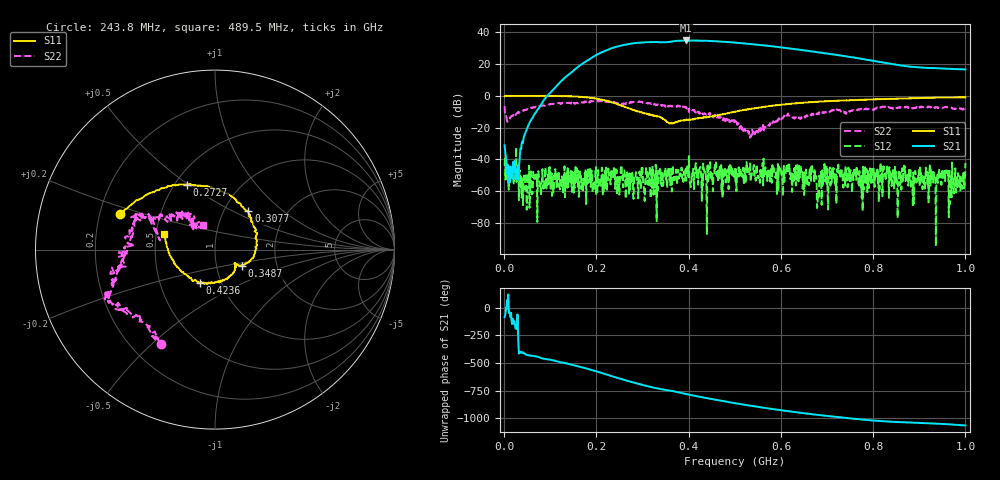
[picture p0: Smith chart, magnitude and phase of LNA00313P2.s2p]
! Created with skrf 1.9.0 (http://scikit-rf.org).
# Hz S RI R 50.0
!freq ReS11 ImS11 ReS21 ImS21 ReS12 ImS12 ReS22 ImS22
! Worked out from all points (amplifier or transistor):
!   1001 points, 1 MHz to 1 GHz, reference 50 ohm
!   highest |S21| = 34.9 dB at 394.6 MHz (marker M1)
!   |S21| within 3 dB of that: 256.7 MHz to 559.7 MHz (303 MHz wide, 74.2 % of centre)
!   unconditionally stable (mu >= 1): 3.794 MHz to 82.52 MHz; 237.9 MHz to 299.7 MHz; 299.7 MHz to end of sweep (the widest 3 of 27)
!   at 166.8 MHz: K = 2.08, MAG = 30.0 dB, |S12| = -52.3 dB
!   at 500.5 MHz: K = 2.00, MAG = 34.0 dB, |S12| = -46.0 dB
!   at 1 GHz: K = 1.90, MAG = 24.0 dB, |S12| = -42.3 dB
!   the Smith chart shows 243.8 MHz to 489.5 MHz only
!   S11 on the Smith chart (normalised r, x): 243.8 MHz: 0.29, +0.17; 272.7 MHz: 0.58, +0.49; 307.7 MHz: 1.30, +0.61; 348.7 MHz: 1.32, -0.25; 423.6 MHz: 0.79, -0.31; 489.5 MHz: 0.55, +0.11
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1000000  0.9673 -0.00925  0.00248 -0.0276  -0.00567 -0.00309  0.3651 0.3076
1.08892e8  0.5047 -0.8542  -0.8133 -1.519  -0.0032 -0.00037  0.4254 -0.3819
1.67833e8  -0.265 -0.8902  -9.876 -0.5179  0.000217 0.00114  0.0334 -0.6296
2.09791e8  -0.6901 -0.344  -15.35 16.87  0.00143 -0.000426  -0.2055 -0.6549
2.43757e8  -0.5279 0.2004  1.198 35.19  -0.0028 0.00367  -0.2995 -0.5248
2.72728e8  -0.1553 0.3624  26.15 34.75  -0.000658 0.000786  -0.5386 -0.3357
3.07693e8  0.1862 0.2142  47.27 11.99  -0.00106 0.00523  -0.5674 -0.1678
3.34666e8  0.224 -0.0161  47.86 -10.51  -0.00256 0.00134  -0.5085 -0.0343
3.48652e8  0.1485 -0.0909  44.7 -18.33  0.00192 0.00518  -0.4985 0.0133
3.7063e8  0.1127 -0.0893  41.95 -32.67  0.00068 0.00232  -0.4401 0.1622
3.94606e8  0.06 -0.1636  27.56 -47.96  -0.000848 0.00196  -0.4096 0.1766
4.23577e8  -0.0829 -0.1857  4.803 -54.3  0.000122 0.00521  -0.2101 0.1762
4.53547e8  -0.2114 -0.0974  -16.6 -49.81  -0.00207 0.00168  -0.1412 0.1554
4.89511e8  -0.2821 0.0894  -34.66 -34.15  0.00574 0.00327  -0.0687 0.1343
5.005e8  -0.2761 0.1482  -37.92 -28.66  -0.00381 -0.00328  -0.1297 0.106
5.4046e8  -0.1871 0.3579  -41.1 -7.346  0.00568 -0.000729  -0.071 0.0296
5.88412e8  0.027 0.5045  -33.11 11.98  0.00266 9.21e-05  -0.1332 -0.0798
6.25375e8  0.2061 0.535  -22.86 19.5  0.00245 -0.00262  -0.181 -0.108
6.67333e8  0.4034 0.4933  -11.43 22.03  0.00216 -0.00601  -0.2574 -0.029
7.51249e8  0.669 0.2911  3.073 16.38  0.0045 -0.000937  -0.3259 0.0747
8.34166e8  0.8025 0.0266  6.644 8.1  0.000544 -0.000306  -0.4036 0.1751
1e9  0.7322 -0.5243  6.542 1.844  -0.00628 -0.00449  -0.0825 0.3632
